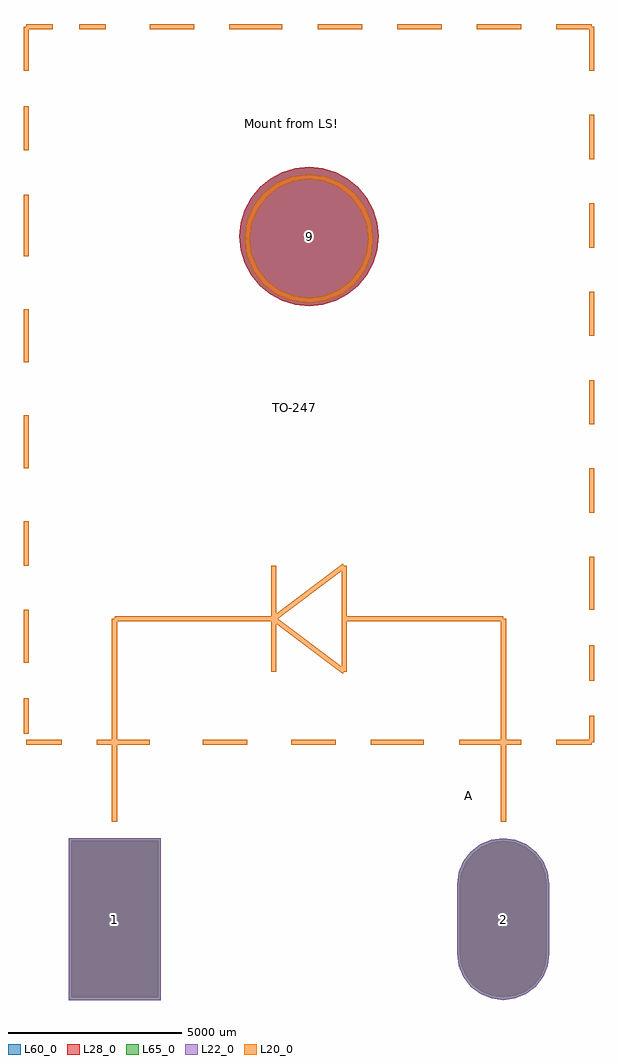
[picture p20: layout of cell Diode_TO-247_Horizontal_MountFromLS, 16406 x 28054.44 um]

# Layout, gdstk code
import gdstk
lib = gdstk.Library(unit=1e-6, precision=1e-09)
def R(c, l, rs):  # rectangles x0, y0, x1, y1
    for r in rs: c.add(gdstk.rectangle(r[:2], r[2:], *l))
def P(c, l, *ps):  # polygons
    for p in ps: c.add(gdstk.Polygon(p, *l))
L20_0 = (20, 0)
L22_0 = (22, 0)
L28_0 = (28, 0)
L60_0 = (60, 0)
L65_0 = (65, 0)

diode_to_247_horizontal_ = lib.new_cell('Diode_TO-247_Horizontal_MountFromLS')
R(diode_to_247_horizontal_, L22_0, [(-1324.68,-2322.9,1324.68,2327.98)])
P(diode_to_247_horizontal_, L22_0, [(11176,-2322.9),(11518.852,-2277.763),(11838.34,-2145.427),(12112.69,-1934.91),(12323.207,-1660.56),(12455.543,-1341.072),(12500.68,-998.22),(12500.68,1003.3),(12455.543,1346.152),(12323.207,1665.64),(12112.69,1939.99),(11838.34,2150.507),(11518.852,2282.843),(11176,2327.98),(10833.148,2282.843),(10513.66,2150.507),(10239.31,1939.99),(10028.793,1665.64),(9896.457,1346.152),(9851.32,1003.3),(9851.32,-998.22),(9896.457,-1341.072),(10028.793,-1660.56),(10239.31,-1934.91),(10513.66,-2145.427),(10833.148,-2277.763)])
R(diode_to_247_horizontal_, L28_0, [(-1249.68,-2247.9,1249.68,2252.98)])
P(diode_to_247_horizontal_, L28_0, [(7588.25,19624.04),(7549.816,20014.269),(7435.99,20389.503),(7251.147,20735.319),(7002.39,21038.43),(6699.279,21287.187),(6353.463,21472.03),(5978.229,21585.856),(5588,21624.29),(5197.771,21585.856),(4822.537,21472.03),(4476.721,21287.187),(4173.61,21038.43),(3924.853,20735.319),(3740.01,20389.503),(3626.184,20014.269),(3587.75,19624.04),(3626.184,19233.811),(3740.01,18858.577),(3924.853,18512.761),(4173.61,18209.65),(4476.721,17960.893),(4822.537,17776.05),(5197.771,17662.224),(5588,17623.79),(5978.229,17662.224),(6353.463,17776.05),(6699.279,17960.893),(7002.39,18209.65),(7251.147,18512.761),(7435.99,18858.577),(7549.816,19233.811)],
  [(11176,-2247.9),(11499.441,-2205.318),(11800.84,-2080.475),(12059.657,-1881.877),(12258.255,-1623.06),(12383.098,-1321.661),(12425.68,-998.22),(12425.68,1003.3),(12383.098,1326.741),(12258.255,1628.14),(12059.657,1886.957),(11800.84,2085.555),(11499.441,2210.398),(11176,2252.98),(10852.559,2210.398),(10551.16,2085.555),(10292.343,1886.957),(10093.745,1628.14),(9968.902,1326.741),(9926.32,1003.3),(9926.32,-998.22),(9968.902,-1321.661),(10093.745,-1623.06),(10292.343,-1881.877),(10551.16,-2080.475),(10852.559,-2205.318)])
R(diode_to_247_horizontal_, L60_0, [(-1249.68,-2247.9,1249.68,2252.98)])
P(diode_to_247_horizontal_, L60_0, [(7588.25,19624.04),(7549.816,20014.269),(7435.99,20389.503),(7251.147,20735.319),(7002.39,21038.43),(6699.279,21287.187),(6353.463,21472.03),(5978.229,21585.856),(5588,21624.29),(5197.771,21585.856),(4822.537,21472.03),(4476.721,21287.187),(4173.61,21038.43),(3924.853,20735.319),(3740.01,20389.503),(3626.184,20014.269),(3587.75,19624.04),(3626.184,19233.811),(3740.01,18858.577),(3924.853,18512.761),(4173.61,18209.65),(4476.721,17960.893),(4822.537,17776.05),(5197.771,17662.224),(5588,17623.79),(5978.229,17662.224),(6353.463,17776.05),(6699.279,17960.893),(7002.39,18209.65),(7251.147,18512.761),(7435.99,18858.577),(7549.816,19233.811)],
  [(11176,-2247.9),(11499.441,-2205.318),(11800.84,-2080.475),(12059.657,-1881.877),(12258.255,-1623.06),(12383.098,-1321.661),(12425.68,-998.22),(12425.68,1003.3),(12383.098,1326.741),(12258.255,1628.14),(12059.657,1886.957),(11800.84,2085.555),(11499.441,2210.398),(11176,2252.98),(10852.559,2210.398),(10551.16,2085.555),(10292.343,1886.957),(10093.745,1628.14),(9968.902,1326.741),(9926.32,1003.3),(9926.32,-998.22),(9968.902,-1321.661),(10093.745,-1623.06),(10292.343,-1881.877),(10551.16,-2080.475),(10852.559,-2205.318)])
R(diode_to_247_horizontal_, L65_0, [(-1324.68,-2322.9,1324.68,2327.98)])
P(diode_to_247_horizontal_, L65_0, [(11176,-2322.9),(11518.852,-2277.763),(11838.34,-2145.427),(12112.69,-1934.91),(12323.207,-1660.56),(12455.543,-1341.072),(12500.68,-998.22),(12500.68,1003.3),(12455.543,1346.152),(12323.207,1665.64),(12112.69,1939.99),(11838.34,2150.507),(11518.852,2282.843),(11176,2327.98),(10833.148,2282.843),(10513.66,2150.507),(10239.31,1939.99),(10028.793,1665.64),(9896.457,1346.152),(9851.32,1003.3),(9851.32,-998.22),(9896.457,-1341.072),(10028.793,-1660.56),(10239.31,-1934.91),(10513.66,-2145.427),(10833.148,-2277.763)])
diode_to_247_horizontal_.add(gdstk.FlexPath([(3810,19560.54),(3870.584,19100.36),(4048.207,18671.54),(4330.764,18303.304),(4699,18020.747),(5127.82,17843.124),(5588,17782.54),(6048.18,17843.124),(6477,18020.747),(6845.236,18303.304),(7127.793,18671.54),(7305.416,19100.36),(7366,19560.54),(7305.416,20020.72),(7127.793,20449.54),(6845.236,20817.776),(6477,21100.333),(6048.18,21277.956),(5588,21338.54),(5127.82,21277.956),(4699,21100.333),(4330.764,20817.776),(4048.207,20449.54),(3870.584,20020.72),(3810,19560.54)], 149.998, ends="flush", simple_path=True, layer=20, datatype=0))  # L20_0
diode_to_247_horizontal_.add(gdstk.FlexPath([(0,2796.54),(0,5082.54)], 149.998, ends="flush", simple_path=True, layer=20, datatype=0))  # L20_0
diode_to_247_horizontal_.add(gdstk.FlexPath([(11176,2796.54),(11176,5082.54)], 149.998, ends="flush", simple_path=True, layer=20, datatype=0))  # L20_0
diode_to_247_horizontal_.add(gdstk.FlexPath([(12954,5082.54),(12700,5082.54)], 149.998, ends="flush", simple_path=True, layer=20, datatype=0))  # L20_0
diode_to_247_horizontal_.add(gdstk.FlexPath([(13716,5082.54),(12954,5082.54)], 149.998, ends="flush", simple_path=True, layer=20, datatype=0))  # L20_0
diode_to_247_horizontal_.add(gdstk.FlexPath([(10160,5082.54),(9906,5082.54)], 149.998, ends="flush", simple_path=True, layer=20, datatype=0))  # L20_0
diode_to_247_horizontal_.add(gdstk.FlexPath([(10414,5082.54),(10160,5082.54)], 149.998, ends="flush", simple_path=True, layer=20, datatype=0))  # L20_0
diode_to_247_horizontal_.add(gdstk.FlexPath([(11684,5082.54),(10414,5082.54)], 149.998, ends="flush", simple_path=True, layer=20, datatype=0))  # L20_0
diode_to_247_horizontal_.add(gdstk.FlexPath([(8890,5082.54),(7366,5082.54)], 149.998, ends="flush", simple_path=True, layer=20, datatype=0))  # L20_0
diode_to_247_horizontal_.add(gdstk.FlexPath([(6350,5082.54),(5080,5082.54)], 149.998, ends="flush", simple_path=True, layer=20, datatype=0))  # L20_0
diode_to_247_horizontal_.add(gdstk.FlexPath([(3810,5082.54),(2540,5082.54)], 149.998, ends="flush", simple_path=True, layer=20, datatype=0))  # L20_0
diode_to_247_horizontal_.add(gdstk.FlexPath([(-1778,5082.54),(-1524,5082.54)], 149.998, ends="flush", simple_path=True, layer=20, datatype=0))  # L20_0
diode_to_247_horizontal_.add(gdstk.FlexPath([(-2540,5082.54),(-1778,5082.54)], 149.998, ends="flush", simple_path=True, layer=20, datatype=0))  # L20_0
diode_to_247_horizontal_.add(gdstk.FlexPath([(1016,5082.54),(762,5082.54)], 149.998, ends="flush", simple_path=True, layer=20, datatype=0))  # L20_0
diode_to_247_horizontal_.add(gdstk.FlexPath([(-508,5082.54),(1016,5082.54)], 149.998, ends="flush", simple_path=True, layer=20, datatype=0))  # L20_0
diode_to_247_horizontal_.add(gdstk.FlexPath([(13716,25656.54),(12700,25656.54)], 149.998, ends="flush", simple_path=True, layer=20, datatype=0))  # L20_0
diode_to_247_horizontal_.add(gdstk.FlexPath([(11684,25656.54),(10414,25656.54)], 149.998, ends="flush", simple_path=True, layer=20, datatype=0))  # L20_0
diode_to_247_horizontal_.add(gdstk.FlexPath([(9398,25656.54),(8128,25656.54)], 149.998, ends="flush", simple_path=True, layer=20, datatype=0))  # L20_0
diode_to_247_horizontal_.add(gdstk.FlexPath([(7112,25656.54),(5842,25656.54)], 149.998, ends="flush", simple_path=True, layer=20, datatype=0))  # L20_0
diode_to_247_horizontal_.add(gdstk.FlexPath([(4826,25656.54),(3302,25656.54)], 149.998, ends="flush", simple_path=True, layer=20, datatype=0))  # L20_0
diode_to_247_horizontal_.add(gdstk.FlexPath([(2286,25656.54),(1016,25656.54)], 149.998, ends="flush", simple_path=True, layer=20, datatype=0))  # L20_0
diode_to_247_horizontal_.add(gdstk.FlexPath([(-254,25656.54),(-1016,25656.54)], 149.998, ends="flush", simple_path=True, layer=20, datatype=0))  # L20_0
diode_to_247_horizontal_.add(gdstk.FlexPath([(-1778,25656.54),(-2540,25656.54)], 149.998, ends="flush", simple_path=True, layer=20, datatype=0))  # L20_0
diode_to_247_horizontal_.add(gdstk.FlexPath([(-2540,24640.54),(-2540,24386.54)], 149.998, ends="flush", simple_path=True, layer=20, datatype=0))  # L20_0
diode_to_247_horizontal_.add(gdstk.FlexPath([(-2540,25656.54),(-2540,24640.54)], 149.998, ends="flush", simple_path=True, layer=20, datatype=0))  # L20_0
diode_to_247_horizontal_.add(gdstk.FlexPath([(-2540,23370.54),(-2540,22100.54)], 149.998, ends="flush", simple_path=True, layer=20, datatype=0))  # L20_0
diode_to_247_horizontal_.add(gdstk.FlexPath([(-2540,20830.54),(-2540,19052.54)], 149.998, ends="flush", simple_path=True, layer=20, datatype=0))  # L20_0
diode_to_247_horizontal_.add(gdstk.FlexPath([(-2540,17528.54),(-2540,16004.54)], 149.998, ends="flush", simple_path=True, layer=20, datatype=0))  # L20_0
diode_to_247_horizontal_.add(gdstk.FlexPath([(-2540,14480.54),(-2540,12956.54)], 149.998, ends="flush", simple_path=True, layer=20, datatype=0))  # L20_0
diode_to_247_horizontal_.add(gdstk.FlexPath([(-2540,11432.54),(-2540,10162.54)], 149.998, ends="flush", simple_path=True, layer=20, datatype=0))  # L20_0
diode_to_247_horizontal_.add(gdstk.FlexPath([(-2540,7622.54),(-2540,7368.54)], 149.998, ends="flush", simple_path=True, layer=20, datatype=0))  # L20_0
diode_to_247_horizontal_.add(gdstk.FlexPath([(-2540,8892.54),(-2540,7622.54)], 149.998, ends="flush", simple_path=True, layer=20, datatype=0))  # L20_0
diode_to_247_horizontal_.add(gdstk.FlexPath([(-2540,6352.54),(-2540,5336.54)], 149.998, ends="flush", simple_path=True, layer=20, datatype=0))  # L20_0
diode_to_247_horizontal_.add(gdstk.FlexPath([(13716,25656.54),(13716,24386.54)], 149.998, ends="flush", simple_path=True, layer=20, datatype=0))  # L20_0
diode_to_247_horizontal_.add(gdstk.FlexPath([(13716,23116.54),(13716,21846.54)], 149.998, ends="flush", simple_path=True, layer=20, datatype=0))  # L20_0
diode_to_247_horizontal_.add(gdstk.FlexPath([(13716,20576.54),(13716,19306.54)], 149.998, ends="flush", simple_path=True, layer=20, datatype=0))  # L20_0
diode_to_247_horizontal_.add(gdstk.FlexPath([(13716,18036.54),(13716,16766.54)], 149.998, ends="flush", simple_path=True, layer=20, datatype=0))  # L20_0
diode_to_247_horizontal_.add(gdstk.FlexPath([(13716,15496.54),(13716,14226.54)], 149.998, ends="flush", simple_path=True, layer=20, datatype=0))  # L20_0
diode_to_247_horizontal_.add(gdstk.FlexPath([(13716,12956.54),(13716,11686.54)], 149.998, ends="flush", simple_path=True, layer=20, datatype=0))  # L20_0
diode_to_247_horizontal_.add(gdstk.FlexPath([(13716,9146.54),(13716,8892.54)], 149.998, ends="flush", simple_path=True, layer=20, datatype=0))  # L20_0
diode_to_247_horizontal_.add(gdstk.FlexPath([(13716,10416.54),(13716,9146.54)], 149.998, ends="flush", simple_path=True, layer=20, datatype=0))  # L20_0
diode_to_247_horizontal_.add(gdstk.FlexPath([(13716,6860.54),(13716,7114.54)], 149.998, ends="flush", simple_path=True, layer=20, datatype=0))  # L20_0
diode_to_247_horizontal_.add(gdstk.FlexPath([(13716,7876.54),(13716,6860.54)], 149.998, ends="flush", simple_path=True, layer=20, datatype=0))  # L20_0
diode_to_247_horizontal_.add(gdstk.FlexPath([(13716,5844.54),(13716,5082.54)], 149.998, ends="flush", simple_path=True, layer=20, datatype=0))  # L20_0
diode_to_247_horizontal_.add(gdstk.FlexPath([(4572,10162.54),(4572,7114.54)], 149.998, ends="flush", simple_path=True, layer=20, datatype=0))  # L20_0
diode_to_247_horizontal_.add(gdstk.FlexPath([(6604,7114.54),(4572,8638.54)], 149.998, ends="flush", simple_path=True, layer=20, datatype=0))  # L20_0
diode_to_247_horizontal_.add(gdstk.FlexPath([(6604,10162.54),(6604,7114.54)], 149.998, ends="flush", simple_path=True, layer=20, datatype=0))  # L20_0
diode_to_247_horizontal_.add(gdstk.FlexPath([(4572,8638.54),(6604,10162.54)], 149.998, ends="flush", simple_path=True, layer=20, datatype=0))  # L20_0
diode_to_247_horizontal_.add(gdstk.FlexPath([(0,8638.54),(0,5082.54)], 149.998, ends="flush", simple_path=True, layer=20, datatype=0))  # L20_0
diode_to_247_horizontal_.add(gdstk.FlexPath([(4572,8638.54),(0,8638.54)], 149.998, ends="flush", simple_path=True, layer=20, datatype=0))  # L20_0
diode_to_247_horizontal_.add(gdstk.FlexPath([(11176,8638.54),(11176,5082.54)], 149.998, ends="flush", simple_path=True, layer=20, datatype=0))  # L20_0
diode_to_247_horizontal_.add(gdstk.FlexPath([(6604,8638.54),(11176,8638.54)], 149.998, ends="flush", simple_path=True, layer=20, datatype=0))  # L20_0
diode_to_247_horizontal_.add(gdstk.Label('9', (5588,19624.04), layer=60, texttype=0))
diode_to_247_horizontal_.add(gdstk.Label('1', (0,2.54), layer=28, texttype=0))
diode_to_247_horizontal_.add(gdstk.Label('2', (11176,2.54), layer=28, texttype=0))
diode_to_247_horizontal_.add(gdstk.Label('TO-247', (5181.6,14709.14), layer=9, texttype=0))
diode_to_247_horizontal_.add(gdstk.Label('Mount from LS!', (5080,22862.54), layer=9, texttype=0))
diode_to_247_horizontal_.add(gdstk.Label('A', (10160,3558.54), layer=9, texttype=0))
diode_to_247_horizontal_.add(gdstk.Label('type', (6131.56,-5331.46), layer=9, texttype=0))
diode_to_247_horizontal_.add(gdstk.Label('devicename', (6604,27434.54), layer=9, texttype=0))

lib.write_gds('Diode_TO-247_Horizontal_MountFromLS.gds')
